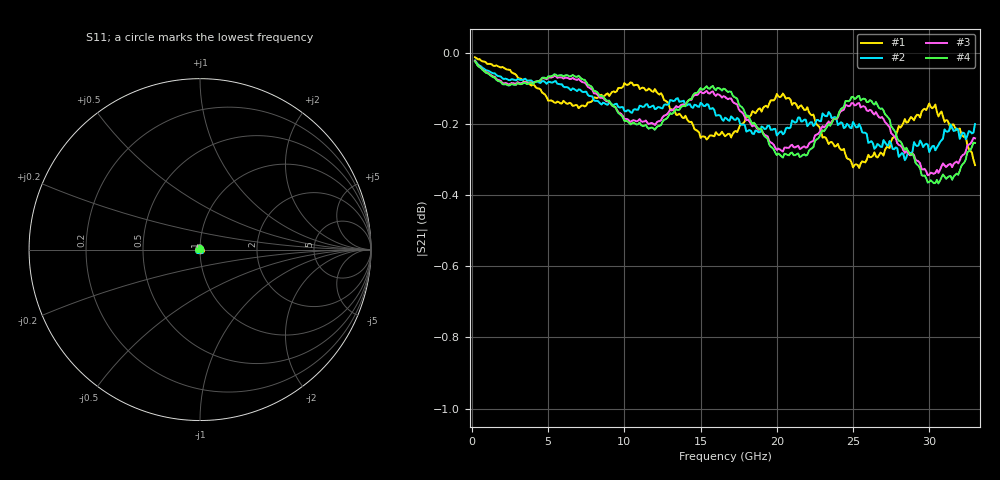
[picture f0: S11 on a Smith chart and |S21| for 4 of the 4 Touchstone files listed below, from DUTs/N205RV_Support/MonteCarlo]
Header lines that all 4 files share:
# GHZ S RI R 50
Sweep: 200 MHz to 33 GHz
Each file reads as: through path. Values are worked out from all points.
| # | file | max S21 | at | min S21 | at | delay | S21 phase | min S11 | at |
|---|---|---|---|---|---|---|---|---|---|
| 1 | N205RV_96.s2p | -0.01 dB | 200 MHz | -0.3 dB | 25.4 GHz | 248 ps | -42 deg at 16.6 GHz | -78.8 dB | 800 MHz |
| 2 | N205RV_97.s2p | -0.02 dB | 200 MHz | -0.3 dB | 28.4 GHz | 248 ps | -42 deg at 16.6 GHz | -79.2 dB | 400 MHz |
| 3 | N205RV_99.s2p | -0.02 dB | 200 MHz | -0.3 dB | 29.9 GHz | 248 ps | -42 deg at 16.6 GHz | -71.3 dB | 400 MHz |
| 4 | N205RV_100.s2p | -0.02 dB | 200 MHz | -0.4 dB | 30.6 GHz | 248 ps | -42 deg at 16.6 GHz | -76.8 dB | 500 MHz |
